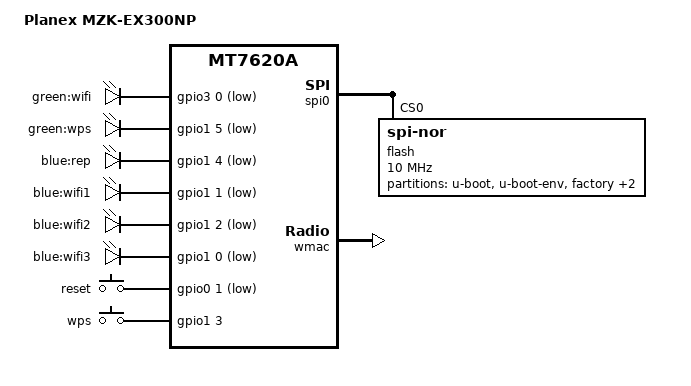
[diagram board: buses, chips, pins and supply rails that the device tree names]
#include "mt7620a.dtsi"

#include <dt-bindings/gpio/gpio.h>
#include <dt-bindings/input/input.h>

/ {
	compatible = "planex,mzk-ex300np", "ralink,mt7620a-soc";
	model = "Planex MZK-EX300NP";

	aliases {
		led-boot = &led_wps;
		led-failsafe = &led_wps;
		led-running = &led_wps;
		led-upgrade = &led_wps;
	};

	leds {
		compatible = "gpio-leds";

		wifi {
			label = "green:wifi";
			gpios = <&gpio3 0 GPIO_ACTIVE_LOW>;
		};

		led_wps: wps {
			label = "green:wps";
			gpios = <&gpio1 5 GPIO_ACTIVE_LOW>;
		};

		rep {
			label = "blue:rep";
			gpios = <&gpio1 4 GPIO_ACTIVE_LOW>;
		};

		wifi1 {
			label = "blue:wifi1";
			gpios = <&gpio1 1 GPIO_ACTIVE_LOW>;
		};

		wifi2 {
			label = "blue:wifi2";
			gpios = <&gpio1 2 GPIO_ACTIVE_LOW>;
		};

		wifi3 {
			label = "blue:wifi3";
			gpios = <&gpio1 0 GPIO_ACTIVE_LOW>;
		};
	};

	keys {
		compatible = "gpio-keys";

		reset {
			label = "reset";
			gpios = <&gpio0 1 GPIO_ACTIVE_LOW>;
			linux,code = <KEY_RESTART>;
		};

		wps {
			label = "wps";
			gpios = <&gpio1 3 GPIO_ACTIVE_HIGH>;
			linux,code = <KEY_RFKILL>;
		};
	};
};

&gpio1 {
	status = "okay";
};

&gpio3 {
	status = "okay";
};

&spi0 {
	status = "okay";

	flash@0 {
		compatible = "jedec,spi-nor";
		reg = <0>;
		spi-max-frequency = <10000000>;

		partitions {
			compatible = "fixed-partitions";
			#address-cells = <1>;
			#size-cells = <1>;

			partition@0 {
				label = "u-boot";
				reg = <0x0 0x30000>;
				read-only;
			};

			partition@30000 {
				label = "u-boot-env";
				reg = <0x30000 0x10000>;
				read-only;
			};

			factory: partition@40000 {
				label = "factory";
				reg = <0x40000 0x10000>;
				read-only;
			};

			partition@50000 {
				compatible = "denx,uimage";
				label = "firmware";
				reg = <0x50000 0x730000>;
			};

			partition@780000 {
				label = "Udata";
				reg = <0x780000 0x80000>;
			};
		};
	};
};

&state_default {
	gpio {
		groups = "i2c", "spi refclk", "rgmii1", "wled";
		function = "gpio";
	};
};

&ethernet {
	pinctrl-names = "default";
	pinctrl-0 = <&ephy_pins>;

	mtd-mac-address = <&factory 0x4>;

	mediatek,portmap = "llllw";
};

&wmac {
	ralink,mtd-eeprom = <&factory 0x0>;
};
